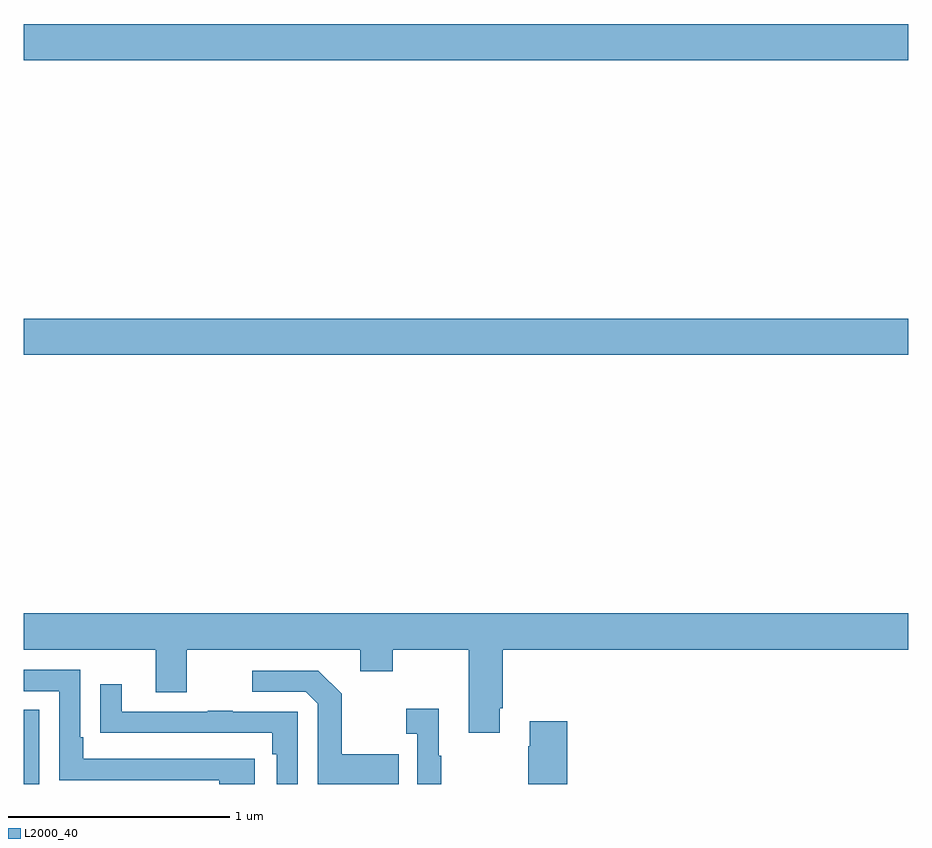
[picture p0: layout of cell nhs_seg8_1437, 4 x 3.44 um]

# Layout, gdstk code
import gdstk
lib = gdstk.Library(unit=1e-6, precision=1e-09)
def R(c, l, rs):  # rectangles x0, y0, x1, y1
    for r in rs: c.add(gdstk.rectangle(r[:2], r[2:], *l))
def P(c, l, *ps):  # polygons
    for p in ps: c.add(gdstk.Polygon(p, *l))
L2000_40 = (2000, 40)

nhs_seg8_1437 = lib.new_cell('nhs_seg8_1437')
R(nhs_seg8_1437, L2000_40, [(203,1107.9,203.07,1108.235), (203,1109.84,207,1110.004), (203,1111.172,207,1111.336)])
P(nhs_seg8_1437, L2000_40, [(205.153,1108.243),(205.166,1108.243),(205.166,1108.508),(207,1108.508),(207,1108.672),(203,1108.672),(203,1108.508),(203.597,1108.508),(203.597,1108.314),(203.737,1108.314),(203.737,1108.508),(204.521,1108.508),(204.521,1108.409),(204.669,1108.409),(204.669,1108.508),(205.013,1108.508),(205.013,1108.131),(205.153,1108.131)],
  [(204.046,1108.014),(203.269,1108.014),(203.269,1108.111),(203.256,1108.111),(203.256,1108.416),(203,1108.416),(203,1108.32),(203.16,1108.32),(203.16,1107.918),(203.885,1107.918),(203.885,1107.9),(204.046,1107.9)],
  [(204.695,1108.035),(204.439,1108.035),(204.439,1108.307),(204.333,1108.413),(204.033,1108.413),(204.033,1108.317),(204.276,1108.317),(204.33,1108.263),(204.33,1107.9),(204.695,1107.9)],
  [(204.24,1108.227),(203.945,1108.227),(203.945,1108.232),(203.833,1108.232),(203.833,1108.227),(203.443,1108.227),(203.443,1108.351),(203.347,1108.351),(203.347,1108.132),(203.449,1108.132),(203.449,1108.131),(204.124,1108.131),(204.124,1108.034),(204.144,1108.034),(204.144,1107.9),(204.24,1107.9)],
  [(204.889,1108.027),(204.877,1108.027),(204.877,1108.24),(204.729,1108.24),(204.729,1108.127),(204.78,1108.127),(204.78,1107.9),(204.889,1107.9)],
  [(205.457,1108.183),(205.289,1108.183),(205.289,1108.07),(205.282,1108.07),(205.282,1107.9),(205.457,1107.9)])

lib.write_gds('nhs_seg8_1437.gds')
